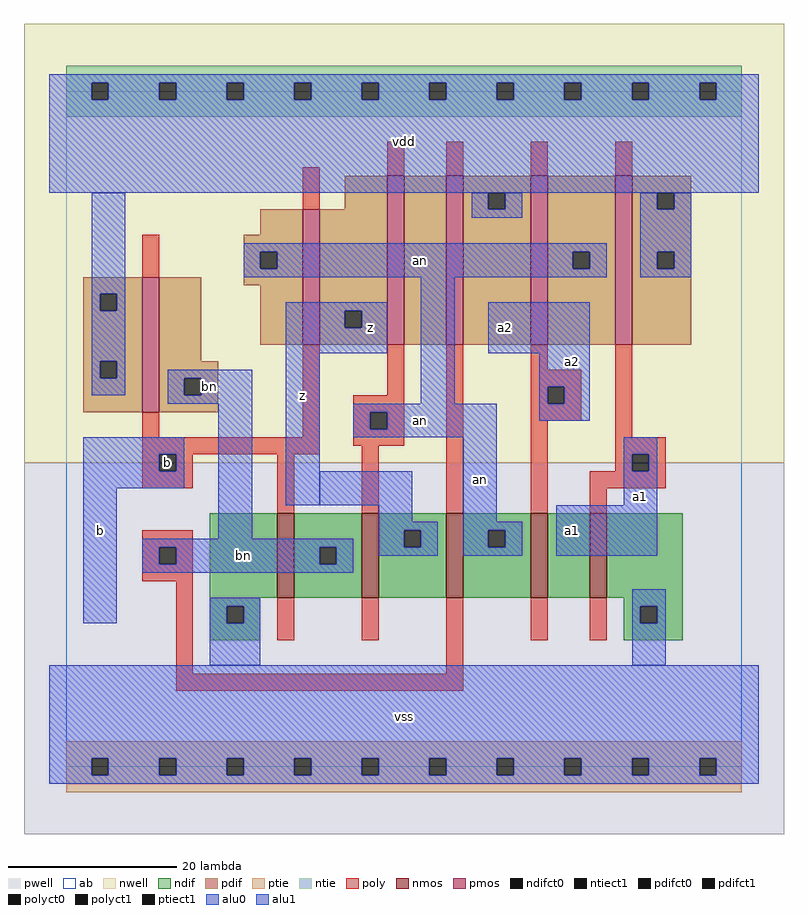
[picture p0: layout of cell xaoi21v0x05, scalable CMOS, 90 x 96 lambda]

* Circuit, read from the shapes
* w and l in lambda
.subckt xaoi21v0x05 a1 a2 an b bn vdd vss z
M1 bn b vss vss nfet w=10 l=2
M2 z an bn vss nfet w=10 l=2
M3 an bn z vss nfet w=10 l=2
M4 n1 a2 an vss nfet w=10 l=2
M5 vss a1 n1 vss nfet w=10 l=2
M6 bn b vdd vdd pfet w=16 l=2
M7 z b an vdd pfet w=16 l=2
M8 n2 an z vdd pfet w=20 l=2
M9 vdd bn n2 vdd pfet w=20 l=2
M10 an a2 vdd vdd pfet w=20 l=2
M11 vdd a1 an vdd pfet w=20 l=2
.ends

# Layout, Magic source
magic
tech scmos
<< ab >>
rect 0 0 80 80
<< nwell >>
rect -5 36 85 88
<< pwell >>
rect -5 -8 85 36
<< poly >>
rect 28 66 30 71
rect 38 70 40 74
rect 45 70 47 74
rect 55 70 57 74
rect 65 70 67 74
rect 9 58 11 63
rect 9 39 11 42
rect 28 39 30 50
rect 38 44 40 50
rect 9 37 30 39
rect 34 42 40 44
rect 34 40 36 42
rect 38 40 40 42
rect 34 38 40 40
rect 9 35 11 37
rect 13 35 15 37
rect 9 33 15 35
rect 25 30 27 37
rect 35 30 37 38
rect 45 30 47 50
rect 55 47 57 50
rect 55 45 61 47
rect 55 43 57 45
rect 59 43 61 45
rect 55 41 61 43
rect 55 30 57 41
rect 65 39 67 50
rect 65 37 71 39
rect 65 35 67 37
rect 69 35 71 37
rect 62 33 71 35
rect 62 30 64 33
rect 9 26 15 28
rect 9 24 11 26
rect 13 24 15 26
rect 9 22 15 24
rect 13 11 15 22
rect 25 15 27 20
rect 35 15 37 20
rect 45 11 47 20
rect 55 15 57 20
rect 62 15 64 20
rect 13 9 47 11
<< ndif >>
rect 17 20 25 30
rect 27 26 35 30
rect 27 24 30 26
rect 32 24 35 26
rect 27 20 35 24
rect 37 28 45 30
rect 37 26 40 28
rect 42 26 45 28
rect 37 20 45 26
rect 47 28 55 30
rect 47 26 50 28
rect 52 26 55 28
rect 47 20 55 26
rect 57 20 62 30
rect 64 20 73 30
rect 17 19 23 20
rect 17 17 19 19
rect 21 17 23 19
rect 17 15 23 17
rect 66 19 73 20
rect 66 17 68 19
rect 70 17 73 19
rect 66 15 73 17
<< pdif >>
rect 33 66 38 70
rect 23 63 28 66
rect 21 61 28 63
rect 21 59 23 61
rect 25 59 28 61
rect 2 56 9 58
rect 2 54 4 56
rect 6 54 9 56
rect 2 48 9 54
rect 2 46 4 48
rect 6 46 9 48
rect 2 42 9 46
rect 11 48 16 58
rect 21 57 28 59
rect 23 50 28 57
rect 30 54 38 66
rect 30 52 33 54
rect 35 52 38 54
rect 30 50 38 52
rect 40 50 45 70
rect 47 68 55 70
rect 47 66 50 68
rect 52 66 55 68
rect 47 50 55 66
rect 57 61 65 70
rect 57 59 60 61
rect 62 59 65 61
rect 57 50 65 59
rect 67 68 74 70
rect 67 66 70 68
rect 72 66 74 68
rect 67 61 74 66
rect 67 59 70 61
rect 72 59 74 61
rect 67 50 74 59
rect 11 46 18 48
rect 11 44 14 46
rect 16 44 18 46
rect 11 42 18 44
<< alu1 >>
rect -2 81 82 82
rect -2 79 3 81
rect 5 79 11 81
rect 13 79 19 81
rect 21 79 27 81
rect 29 79 35 81
rect 37 79 43 81
rect 45 79 51 81
rect 53 79 59 81
rect 61 79 67 81
rect 69 79 75 81
rect 77 79 82 81
rect -2 68 82 79
rect 26 54 38 55
rect 26 52 33 54
rect 35 52 38 54
rect 26 49 38 52
rect 2 37 14 39
rect 2 35 11 37
rect 13 35 14 37
rect 2 33 14 35
rect 2 17 6 33
rect 26 31 30 49
rect 50 49 62 55
rect 56 45 62 49
rect 56 43 57 45
rect 59 43 62 45
rect 56 41 62 43
rect 66 37 70 39
rect 66 35 67 37
rect 69 35 70 37
rect 66 31 70 35
rect 58 25 70 31
rect -2 1 82 12
rect -2 -1 3 1
rect 5 -1 11 1
rect 13 -1 19 1
rect 21 -1 27 1
rect 29 -1 35 1
rect 37 -1 43 1
rect 45 -1 51 1
rect 53 -1 59 1
rect 61 -1 67 1
rect 69 -1 75 1
rect 77 -1 82 1
rect -2 -2 82 -1
<< ptie >>
rect 0 1 80 3
rect 0 -1 3 1
rect 5 -1 11 1
rect 13 -1 19 1
rect 21 -1 27 1
rect 29 -1 35 1
rect 37 -1 43 1
rect 45 -1 51 1
rect 53 -1 59 1
rect 61 -1 67 1
rect 69 -1 75 1
rect 77 -1 80 1
rect 0 -3 80 -1
<< ntie >>
rect 0 81 80 83
rect 0 79 3 81
rect 5 79 11 81
rect 13 79 19 81
rect 21 79 27 81
rect 29 79 35 81
rect 37 79 43 81
rect 45 79 51 81
rect 53 79 59 81
rect 61 79 67 81
rect 69 79 75 81
rect 77 79 80 81
rect 0 77 80 79
<< nmos >>
rect 25 20 27 30
rect 35 20 37 30
rect 45 20 47 30
rect 55 20 57 30
rect 62 20 64 30
<< pmos >>
rect 9 42 11 58
rect 28 50 30 66
rect 38 50 40 70
rect 45 50 47 70
rect 55 50 57 70
rect 65 50 67 70
<< polyct0 >>
rect 36 40 38 42
rect 11 24 13 26
<< polyct1 >>
rect 11 35 13 37
rect 57 43 59 45
rect 67 35 69 37
<< ndifct0 >>
rect 30 24 32 26
rect 40 26 42 28
rect 50 26 52 28
rect 19 17 21 19
rect 68 17 70 19
<< ntiect1 >>
rect 3 79 5 81
rect 11 79 13 81
rect 19 79 21 81
rect 27 79 29 81
rect 35 79 37 81
rect 43 79 45 81
rect 51 79 53 81
rect 59 79 61 81
rect 67 79 69 81
rect 75 79 77 81
<< ptiect1 >>
rect 3 -1 5 1
rect 11 -1 13 1
rect 19 -1 21 1
rect 27 -1 29 1
rect 35 -1 37 1
rect 43 -1 45 1
rect 51 -1 53 1
rect 59 -1 61 1
rect 67 -1 69 1
rect 75 -1 77 1
<< pdifct0 >>
rect 23 59 25 61
rect 4 54 6 56
rect 4 46 6 48
rect 50 66 52 68
rect 60 59 62 61
rect 70 66 72 68
rect 70 59 72 61
rect 14 44 16 46
<< pdifct1 >>
rect 33 52 35 54
<< alu0 >>
rect 3 56 7 68
rect 48 66 50 68
rect 52 66 54 68
rect 48 65 54 66
rect 68 66 70 68
rect 72 66 74 68
rect 21 61 64 62
rect 21 59 23 61
rect 25 59 60 61
rect 62 59 64 61
rect 21 58 64 59
rect 68 61 74 66
rect 68 59 70 61
rect 72 59 74 61
rect 68 58 74 59
rect 3 54 4 56
rect 6 54 7 56
rect 3 48 7 54
rect 3 46 4 48
rect 6 46 7 48
rect 3 44 7 46
rect 12 46 22 47
rect 12 44 14 46
rect 16 44 22 46
rect 12 43 22 44
rect 18 27 22 43
rect 42 43 46 58
rect 34 42 51 43
rect 34 40 36 42
rect 38 40 51 42
rect 34 39 51 40
rect 30 31 41 35
rect 37 29 41 31
rect 47 29 51 39
rect 37 28 44 29
rect 9 26 34 27
rect 9 24 11 26
rect 13 24 30 26
rect 32 24 34 26
rect 37 26 40 28
rect 42 26 44 28
rect 37 25 44 26
rect 47 28 54 29
rect 47 26 50 28
rect 52 26 54 28
rect 47 25 54 26
rect 9 23 34 24
rect 17 19 23 20
rect 17 17 19 19
rect 21 17 23 19
rect 17 12 23 17
rect 67 19 71 21
rect 67 17 68 19
rect 70 17 71 19
rect 67 12 71 17
<< labels >>
rlabel alu0 21 25 21 25 6 bn
rlabel alu0 17 45 17 45 6 bn
rlabel alu0 49 34 49 34 6 an
rlabel alu0 42 41 42 41 6 an
rlabel alu0 42 60 42 60 6 an
rlabel polyct1 12 36 12 36 6 b
rlabel alu1 4 28 4 28 6 b
rlabel alu1 28 44 28 44 6 z
rlabel alu1 36 52 36 52 6 z
rlabel alu1 40 6 40 6 6 vss
rlabel alu1 52 52 52 52 6 a2
rlabel alu1 40 74 40 74 6 vdd
rlabel alu1 60 28 60 28 6 a1
rlabel alu1 68 32 68 32 6 a1
rlabel alu1 60 48 60 48 6 a2
<< end >>
